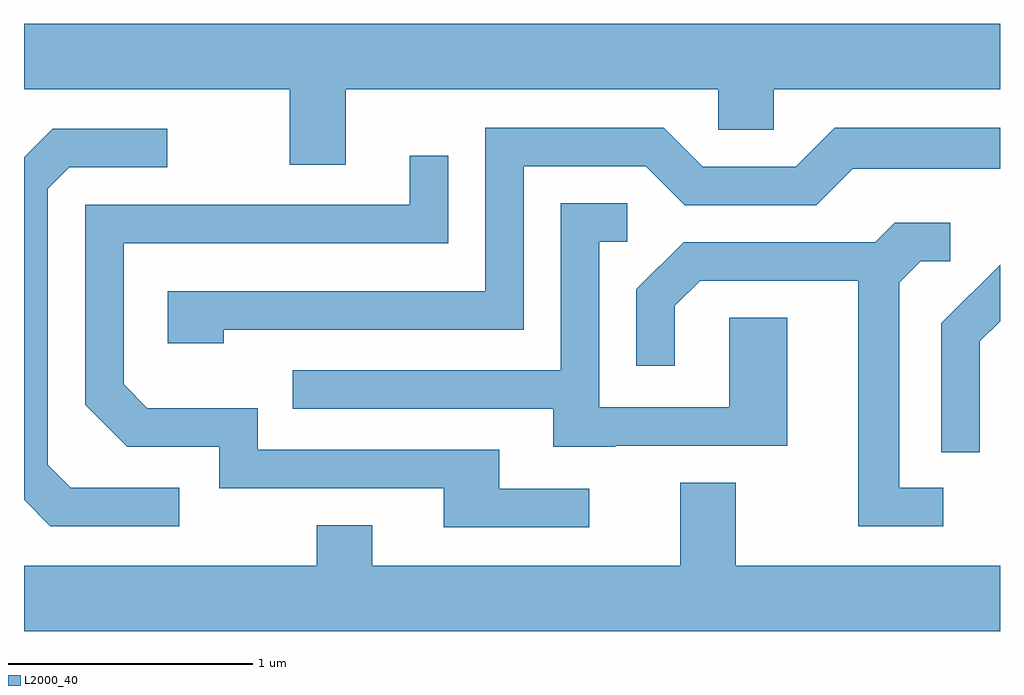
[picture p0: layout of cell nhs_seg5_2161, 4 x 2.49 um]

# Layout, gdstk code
import gdstk
lib = gdstk.Library(unit=1e-6, precision=1e-09)
def P(c, l, *ps):  # polygons
    for p in ps: c.add(gdstk.Polygon(p, *l))
L2000_40 = (2000, 40)

nhs_seg5_2161 = lib.new_cell('nhs_seg5_2161')
P(nhs_seg5_2161, L2000_40, [(250.929,1425.716),(252.456,1425.716),(252.456,1425.551),(252.684,1425.551),(252.684,1425.716),(253.611,1425.716),(253.611,1425.984),(249.611,1425.984),(249.611,1425.716),(250.701,1425.716),(250.701,1425.406),(250.929,1425.406)],
  [(250.429,1424.731),(251.659,1424.731),(251.659,1425.401),(252.159,1425.401),(252.319,1425.241),(252.857,1425.241),(253.007,1425.391),(253.611,1425.391),(253.611,1425.559),(252.934,1425.559),(252.774,1425.399),(252.392,1425.399),(252.232,1425.559),(251.501,1425.559),(251.501,1424.889),(250.201,1424.889),(250.201,1424.676),(250.429,1424.676)],
  [(250.248,1424.084),(249.802,1424.084),(249.709,1424.177),(249.709,1425.309),(249.797,1425.396),(250.198,1425.396),(250.198,1425.554),(249.729,1425.554),(249.611,1425.437),(249.611,1424.034),(249.719,1423.926),(250.248,1423.926)],
  [(251.928,1424.079),(251.559,1424.079),(251.559,1424.239),(250.569,1424.239),(250.569,1424.409),(250.117,1424.409),(250.019,1424.507),(250.019,1425.086),(251.349,1425.086),(251.349,1425.443),(251.191,1425.443),(251.191,1425.244),(249.861,1425.244),(249.861,1424.424),(250.034,1424.251),(250.411,1424.251),(250.411,1424.081),(251.331,1424.081),(251.331,1423.921),(251.928,1423.921)],
  [(252.035,1424.256),(252.739,1424.256),(252.739,1424.779),(252.501,1424.779),(252.501,1424.414),(251.969,1424.414),(251.969,1425.091),(252.083,1425.091),(252.083,1425.249),(251.811,1425.249),(251.811,1424.564),(250.713,1424.564),(250.713,1424.406),(251.781,1424.406),(251.781,1424.251),(252.035,1424.251)],
  [(253.378,1424.084),(253.199,1424.084),(253.199,1424.924),(253.287,1425.011),(253.408,1425.011),(253.408,1425.169),(253.179,1425.169),(253.099,1425.089),(252.314,1425.089),(252.121,1424.897),(252.121,1424.583),(252.279,1424.583),(252.279,1424.829),(252.382,1424.931),(253.031,1424.931),(253.031,1423.926),(253.378,1423.926)],
  [(253.529,1424.684),(253.611,1424.766),(253.611,1424.997),(253.371,1424.757),(253.371,1424.228),(253.529,1424.228)],
  [(253.611,1423.764),(252.529,1423.764),(252.529,1424.104),(252.301,1424.104),(252.301,1423.764),(251.039,1423.764),(251.039,1423.929),(250.811,1423.929),(250.811,1423.764),(249.611,1423.764),(249.611,1423.496),(253.611,1423.496)])

lib.write_gds('nhs_seg5_2161.gds')
